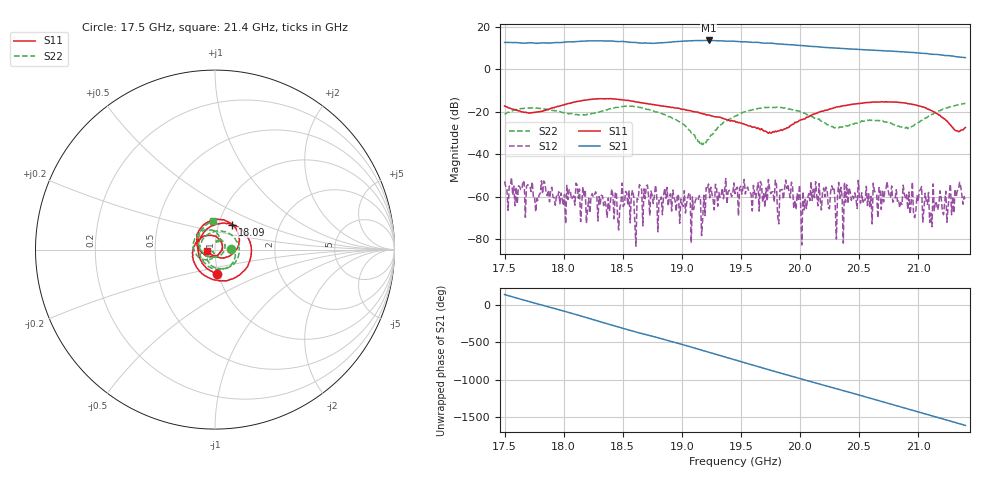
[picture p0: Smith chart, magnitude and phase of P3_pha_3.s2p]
!Created with skrf (http://scikit-rf.org).
# GHz S RI R 50.0
!freq ReS11 ImS11 ReS21 ImS21 ReS12 ImS12 ReS22 ImS22
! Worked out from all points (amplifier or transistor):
!   401 points, 17.5 GHz to 21.4 GHz, reference 50 ohm
!   highest |S21| = 13.6 dB at 19.23 GHz (marker M1)
!   |S21| within 3 dB of that: start of sweep to 20.16 GHz
!   unconditionally stable (mu >= 1): start of sweep to end of sweep
!   at 18.14 GHz: K = 399.41, MAG = 13.4 dB, |S12| = -71.6 dB
!   at 19.45 GHz: K = 91.27, MAG = 13.2 dB, |S12| = -58.5 dB
!   at 21.4 GHz: K = 323.30, MAG = 5.6 dB, |S12| = -61.9 dB
!   S11 on the Smith chart (normalised r, x): 17.5 GHz: 0.99, -0.27; 18.09 GHz: 1.16, +0.33; 21.4 GHz: 0.92, -0.01
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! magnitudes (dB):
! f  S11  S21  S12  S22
! 17.5 GHz  -17.3  12.7  -52.7  -21.2
! 18.09 GHz  -15.4  13.0  -63.9  -21.3
! 18.15 GHz  -14.8  13.2  -62.9  -21.3
! 18.51 GHz  -14.4  13.0  -63.5  -17.4
! 18.61 GHz  -15.4  12.6  -83.2  -17.5
! 18.7 GHz  -16.1  12.4  -55.0  -18.8
! 18.81 GHz  -17.0  12.5  -61.5  -20.4
! 19.14 GHz  -20.2  13.5  -61.6  -34.0
! 19.18 GHz  -20.9  13.6  -69.9  -35.5
! 19.23 GHz  -21.6  13.6  -53.9  -33.0
! 19.45 GHz  -24.4  13.2  -58.5  -22.1
! 19.83 GHz  -28.8  11.9  -56.7  -17.8
! 19.89 GHz  -27.5  11.7  -56.1  -18.5
! 20.04 GHz  -23.3  11.1  -66.2  -20.6
! 20.1 GHz  -21.4  10.7  -61.7  -22.3
! 20.59 GHz  -15.6  9.1  -65.0  -23.8
! 20.76 GHz  -15.4  8.6  -59.6  -25.3
! 20.98 GHz  -16.8  7.8  -66.3  -25.8
! 21.01 GHz  -17.3  7.6  -57.3  -24.7
! 21.1 GHz  -19.1  7.2  -72.0  -21.9
! 21.34 GHz  -29.4  5.8  -56.6  -16.7
! 21.4 GHz  -27.4  5.5  -61.9  -16.0
